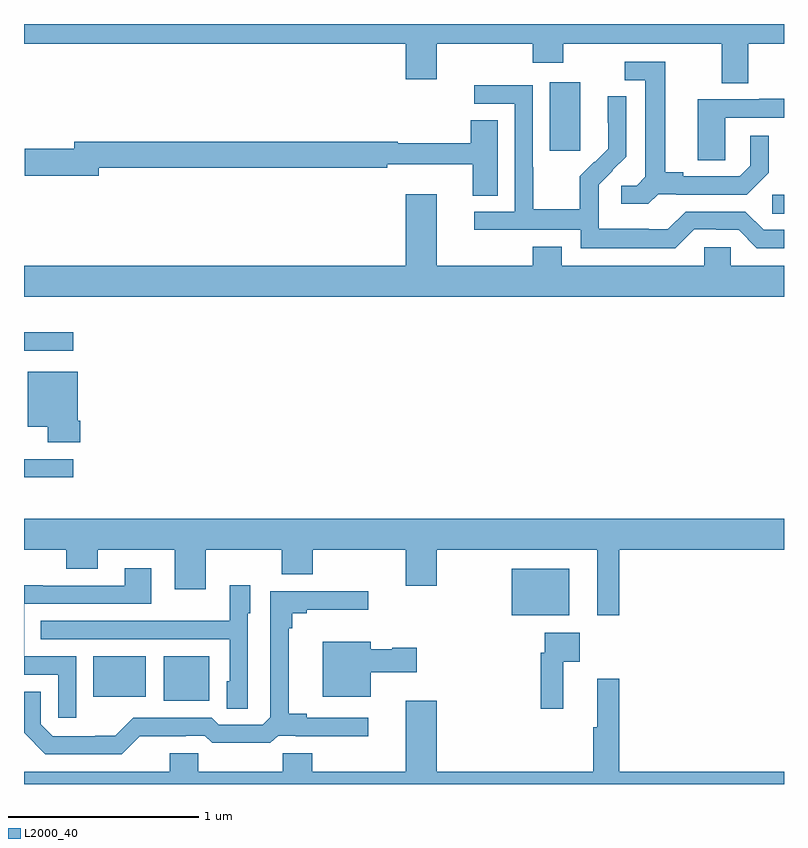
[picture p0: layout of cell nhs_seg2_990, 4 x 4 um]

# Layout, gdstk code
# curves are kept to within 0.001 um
import gdstk
lib = gdstk.Library(unit=1e-6, precision=1e-09)
def R(c, l, rs):  # rectangles x0, y0, x1, y1
    for r in rs: c.add(gdstk.rectangle(r[:2], r[2:], *l))
def P(c, l, *ps):  # polygons
    for p in ps: c.add(gdstk.Polygon(p, *l))
L2000_40 = (2000, 40)

nhs_seg2_990 = lib.new_cell('nhs_seg2_990')
R(nhs_seg2_990, L2000_40, [(163.736,584.237,163.975,584.473), (163.364,584.258,163.642,584.473), (165.566,584.687,165.871,584.932), (163,585.414,163.258,585.51), (163,586.08,163.258,586.178), (166.938,586.801,167,586.902), (165.767,587.133,165.928,587.494)])
P(nhs_seg2_990, L2000_40, [(166.813,587.696),(167,587.696),(167,587.8),(163,587.8),(163,587.696),(165.008,587.696),(165.008,587.508),(165.172,587.508),(165.172,587.696),(165.677,587.696),(165.677,587.597),(165.837,587.597),(165.837,587.696),(166.673,587.696),(166.673,587.488),(166.813,587.488)],
  [(166.338,586.905),(166.432,586.905),(166.432,586.902),(166.804,586.902),(166.92,587.018),(166.92,587.212),(166.823,587.212),(166.823,587.055),(166.766,586.998),(166.471,586.998),(166.471,587.021),(166.375,587.021),(166.375,587.601),(166.161,587.601),(166.161,587.505),(166.271,587.505),(166.271,586.997),(166.224,586.95),(166.143,586.95),(166.143,586.853),(166.286,586.853)],
  [(166.527,586.719),(166.643,586.719),(166.643,586.716),(166.761,586.716),(166.857,586.62),(167,586.62),(167,586.716),(166.893,586.716),(166.797,586.812),(166.482,586.812),(166.389,586.719),(166.289,586.719),(166.289,586.723),(166.026,586.723),(166.026,586.857),(166.024,586.857),(166.024,586.954),(166.17,587.102),(166.17,587.42),(166.073,587.42),(166.073,587.279),(166.076,587.279),(166.076,587.144),(166.005,587.073),(166.002,587.076),(165.925,586.999),(165.925,586.825),(165.681,586.825),(165.681,587.045),(165.678,587.045),(165.678,587.478),(165.369,587.478),(165.369,587.379),(165.582,587.379),(165.582,586.812),(165.369,586.812),(165.369,586.716),(165.93,586.716),(165.93,586.619),(166.427,586.619)],
  [(166.692,587.307),(167,587.307),(167,587.407),(166.871,587.407),(166.871,587.403),(166.547,587.403),(166.547,587.083),(166.692,587.083)],
  [(165.493,587.294),(165.35,587.294),(165.35,587.173),(164.966,587.173),(164.966,587.18),(163.265,587.18),(163.265,587.144),(163.005,587.144),(163.005,587.002),(163.393,587.002),(163.393,587.044),(164.912,587.044),(164.912,587.063),(165.362,587.063),(165.362,586.897),(165.493,586.897)],
  [(167,586.528),(166.719,586.528),(166.719,586.626),(166.581,586.626),(166.581,586.528),(165.829,586.528),(165.829,586.627),(165.677,586.627),(165.677,586.528),(165.172,586.528),(165.172,586.903),(165.008,586.903),(165.008,586.528),(163,586.528),(163,586.364),(167,586.364)],
  [(163.295,585.712),(163.282,585.712),(163.282,585.97),(163.019,585.97),(163.019,585.68),(163.124,585.68),(163.124,585.6),(163.295,585.6)],
  [(166.133,585.032),(167,585.032),(167,585.196),(163,585.196),(163,585.032),(163.223,585.032),(163.223,584.933),(163.387,584.933),(163.387,585.032),(163.793,585.032),(163.793,584.826),(163.957,584.826),(163.957,585.032),(164.357,585.032),(164.357,584.904),(164.521,584.904),(164.521,585.032),(165.008,585.032),(165.008,584.844),(165.172,584.844),(165.172,585.032),(166.016,585.032),(166.016,584.688),(166.133,584.688)],
  [(163.275,584.472),(163.002,584.472),(163.002,584.748),(163.669,584.748),(163.669,584.935),(163.529,584.935),(163.529,584.844),(163.099,584.844),(163.099,584.846),(163,584.846),(163,584.376),(163.179,584.376),(163.179,584.148),(163.275,584.148)],
  [(164.178,584.7),(164.191,584.7),(164.191,584.845),(164.082,584.845),(164.082,584.659),(163.765,584.659),(163.765,584.658),(163.087,584.658),(163.087,584.562),(164.082,584.562),(164.082,584.34),(164.066,584.34),(164.066,584.197),(164.178,584.197)],
  [(163.61,584.051),(163.85,584.051),(163.85,584.055),(163.95,584.055),(163.99,584.016),(164.297,584.016),(164.337,584.055),(164.431,584.055),(164.431,584.051),(164.812,584.051),(164.812,584.148),(164.488,584.148),(164.488,584.171),(164.393,584.171),(164.393,584.621),(164.411,584.621),(164.411,584.698),(164.488,584.698),(164.488,584.717),(164.812,584.717),(164.812,584.814),(164.295,584.814),(164.295,584.151),(164.256,584.112),(164.025,584.112),(163.989,584.148),(163.575,584.148),(163.481,584.054),(163.376,584.054),(163.376,584.052),(163.152,584.052),(163.089,584.115),(163.089,584.286),(163,584.286),(163,584.069),(163.112,583.956),(163.515,583.956)],
  [(165.839,584.444),(165.925,584.444),(165.925,584.596),(165.741,584.596),(165.741,584.492),(165.721,584.492),(165.721,584.196),(165.839,584.196)],
  [(164.824,584.387),(165.067,584.387),(165.067,584.517),(164.937,584.517),(164.937,584.509),(164.824,584.509),(164.824,584.548),(164.573,584.548),(164.573,584.258),(164.824,584.258)],
  [(167,583.864),(166.133,583.864),(166.133,584.353),(166.016,584.353),(166.016,584.1),(165.997,584.1),(165.997,583.864),(165.172,583.864),(165.172,584.239),(165.008,584.239),(165.008,583.864),(164.517,583.864),(164.517,583.962),(164.362,583.962),(164.362,583.864),(163.917,583.864),(163.917,583.962),(163.766,583.962),(163.766,583.864),(163,583.864),(163,583.8),(167,583.8)])

lib.write_gds('nhs_seg2_990.gds')
